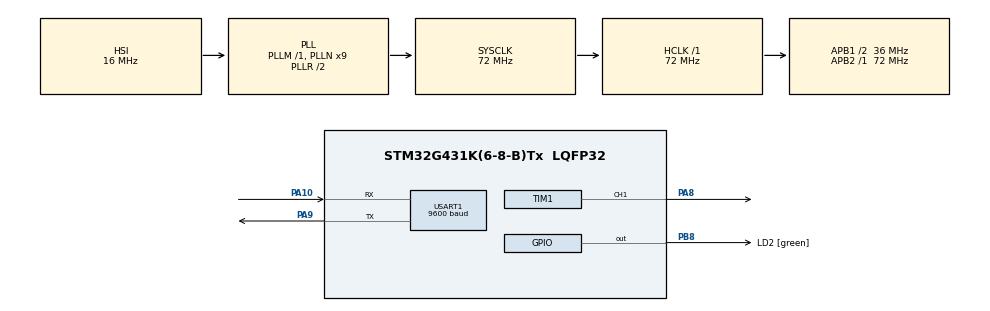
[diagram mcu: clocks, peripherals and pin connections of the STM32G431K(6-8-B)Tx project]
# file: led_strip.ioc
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Dma.Request0=TIM1_CH1
Dma.Request1=USART1_RX
Dma.TIM1_CH1.0.Direction=DMA_MEMORY_TO_PERIPH
Dma.TIM1_CH1.0.EventEnable=DISABLE
Dma.TIM1_CH1.0.Instance=DMA1_Channel1
Dma.TIM1_CH1.0.MemDataAlignment=DMA_MDATAALIGN_HALFWORD
Dma.TIM1_CH1.0.MemInc=DMA_MINC_ENABLE
Dma.TIM1_CH1.0.Mode=DMA_NORMAL
Dma.TIM1_CH1.0.PeriphDataAlignment=DMA_PDATAALIGN_HALFWORD
Dma.TIM1_CH1.0.PeriphInc=DMA_PINC_DISABLE
Dma.TIM1_CH1.0.Polarity=HAL_DMAMUX_REQ_GEN_RISING
Dma.TIM1_CH1.0.Priority=DMA_PRIORITY_LOW
Dma.TIM1_CH1.0.RequestNumber=1
Dma.TIM1_CH1.0.SignalID=NONE
Dma.TIM1_CH1.0.SyncEnable=DISABLE
Dma.TIM1_CH1.0.SyncPolarity=HAL_DMAMUX_SYNC_NO_EVENT
Dma.TIM1_CH1.0.SyncRequestNumber=1
Dma.TIM1_CH1.0.SyncSignalID=NONE
Dma.USART1_RX.1.Direction=DMA_PERIPH_TO_MEMORY
Dma.USART1_RX.1.EventEnable=DISABLE
Dma.USART1_RX.1.Instance=DMA1_Channel2
Dma.USART1_RX.1.MemDataAlignment=DMA_MDATAALIGN_BYTE
Dma.USART1_RX.1.MemInc=DMA_MINC_ENABLE
Dma.USART1_RX.1.Mode=DMA_CIRCULAR
Dma.USART1_RX.1.PeriphDataAlignment=DMA_PDATAALIGN_BYTE
Dma.USART1_RX.1.PeriphInc=DMA_PINC_DISABLE
Dma.USART1_RX.1.Polarity=HAL_DMAMUX_REQ_GEN_RISING
Dma.USART1_RX.1.Priority=DMA_PRIORITY_LOW
Dma.USART1_RX.1.RequestNumber=1
Dma.USART1_RX.1.SignalID=NONE
Dma.USART1_RX.1.SyncEnable=DISABLE
Dma.USART1_RX.1.SyncPolarity=HAL_DMAMUX_SYNC_NO_EVENT
Dma.USART1_RX.1.SyncRequestNumber=1
Dma.USART1_RX.1.SyncSignalID=NONE
Mcu.Family=STM32G4
Mcu.Name=STM32G431K(6-8-B)Tx
Mcu.Package=LQFP32
NVIC.DMA1_Channel1_IRQn=true\:0\:0\:false\:false\:true\:false\:true\:true
NVIC.DMA1_Channel2_IRQn=true\:0\:0\:false\:false\:true\:false\:true\:true
NVIC.PriorityGroup=NVIC_PRIORITYGROUP_4
PA10.Mode=Asynchronous
PA10.Signal=USART1_RX
PA13.GPIO_Label=T_SWDIO
PA13.Mode=Serial_Wire
PA13.Signal=SYS_JTMS-SWDIO
PA14.GPIO_Label=T_SWCLK
PA14.Mode=Serial_Wire
PA14.Signal=SYS_JTCK-SWCLK
PA8.Signal=S_TIM1_CH1
PA9.Mode=Asynchronous
PA9.Signal=USART1_TX
PB3.GPIO_Label=T_SWO
PB3.Signal=SYS_JTDO-SWO
PB8-BOOT0.GPIO_Label=LD2 [green]
PB8-BOOT0.Signal=GPIO_Output
ProjectManager.HeapSize=0x200
ProjectManager.StackSize=0x400
ProjectManager.TargetToolchain=STM32CubeIDE
RCC.ADC12Freq_Value=72000000
RCC.AHBFreq_Value=72000000
RCC.APB1CLKDivider=RCC_HCLK_DIV2
RCC.APB1Freq_Value=36000000
RCC.APB1TimFreq_Value=72000000
RCC.APB2Freq_Value=72000000
RCC.APB2TimFreq_Value=72000000
RCC.CortexFreq_Value=72000000
RCC.EXTERNAL_CLOCK_VALUE=12288000
RCC.HCLKFreq_Value=72000000
RCC.HSE_VALUE=8000000
RCC.HSI48_VALUE=48000000
RCC.HSI_VALUE=16000000
RCC.LSE_VALUE=32768
RCC.PLLN=9
RCC.SYSCLKFreq_VALUE=72000000
RCC.SYSCLKSource=RCC_SYSCLKSOURCE_PLLCLK
RCC.USBFreq_Value=72000000
RCC.VCOOutputFreq_Value=144000000
SH.S_TIM1_CH1.0=TIM1_CH1,PWM Generation1 CH1
TIM1.Channel-PWM\ Generation1\ CH1=TIM_CHANNEL_1
TIM1.PeriodNoDither=90-1
USART1.BaudRate=9600
USART1.VirtualMode-Asynchronous=VM_ASYNC
VP_CRC_VS_CRC.Mode=CRC_Activate
VP_TIM1_VS_ClockSourceINT.Mode=Internal
board=NUCLEO-G431KB

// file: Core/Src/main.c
/* USER CODE BEGIN Header */
/**
 ******************************************************************************
 * @file           : main.c
 * @brief          : Main program body
 ******************************************************************************
 * @attention
 *
 * Copyright (c) 2022 STMicroelectronics.
 * All rights reserved.
 *
 * This software is licensed under terms that can be found in the LICENSE file
 * in the root directory of this software component.
 * If no LICENSE file comes with this software, it is provided AS-IS.
 *
 ******************************************************************************
 */
/* USER CODE END Header */
#include "main.h"

CRC_HandleTypeDef hcrc;

TIM_HandleTypeDef htim1;
DMA_HandleTypeDef hdma_tim1_ch1;

UART_HandleTypeDef huart1;
DMA_HandleTypeDef hdma_usart1_rx;

void SystemClock_Config(void);
static void MX_GPIO_Init(void);
static void MX_DMA_Init(void);
static void MX_TIM1_Init(void);
static void MX_USART1_UART_Init(void);
static void MX_CRC_Init(void);

/* USER CODE BEGIN 0 */
void led_select(int lednum, int g, int r, int b);
void brightness_select();
void colorselect(int g, int r, int b);
void send_data();
uint8_t data[18] = { 0 };
int led_count = 8;
uint16_t pwmData[242]; //as we will send data that are 24 bytes for every led
int led_data[8][4];
uint32_t data_index = 0;
int counter = 0;
int completedcounter = 0;
uint32_t result = 0;
int data_corrupted_flag = 0;
uint8_t crc_incoming_data[4];
uint32_t crc_incoming_result;
uint32_t calculated_crc;
int checksum = 0;
uint8_t reformed_data[11];
uint32_t all_bytes;
/*
 char msg_success = "message received successfully";
 char msg_failure = "message was corrupted, try again?(y/n)";
 */
uint8_t failure_signal = 0;
uint8_t success_signal = 1;

void HAL_UART_RxCpltCallback(UART_HandleTypeDef *huart) {

	if (data[1] == 8) {
		completedcounter = 8;
	}
	if (counter < 8) {
		counter++;
		HAL_UART_Receive_DMA(&huart1, data, 18);
	}

}

void organizer() {
	int green = data[2] * 100 + data[3] * 10 + data[4];
	int red = data[5] * 100 + data[6] * 10 + data[7];
	int blue = data[8] * 100 + data[9] * 10 + data[10];
	led_select(data[1], green, red, blue);
	completedcounter++;
	brightness_select();

}

void led_select(int lednum, int g, int r, int b) {
	led_data[lednum][0] = lednum;
	led_data[lednum][1] = g;
	led_data[lednum][2] = r;
	led_data[lednum][3] = b;
}

void brightness_select() {
	double val = 1;
	if (data[10] == 1) {
		val = 0.25;
	}
	if (data[10] == 2) {
		val = 0.5;
	}
	if (data[10] == 3) {
		val = 0.75;
	}

	for (int j = 1; j < 4; j++) {
		led_data[data[1]][j] = led_data[data[1]][j] * val;
	}

}

void colorselect(int g, int r, int b) {
//	uint32_t input = ((g << 16) | (r << 8) | b);
//
//	for (int i = 23; i >= 0; i--) {
//		if (input&(1 << i))
//			pwmData[data_index] = 60;
//		else
//			pwmData[data_index] = 30;
//
//		data_index++;
//	}

	for (int i = 0; i < 8; i++) {
		pwmData[data_index] = ((g << i) & 0x80) ? 60 : 30;
		data_index++;
	}
	for (int i = 0; i < 8; i++) {
		pwmData[data_index] = ((r << i) & 0x80) ? 60 : 30;
		data_index++;
	}
	for (int i = 0; i < 8; i++) {
		pwmData[data_index] = ((b << i) & 0x80) ? 60 : 30;
		data_index++;
	}

}

void send_data() {

	for (int i = 0; i < led_count; i++) {
		colorselect(led_data[i][1], led_data[i][2], led_data[i][3]);
	}
	for (int i = 0; i < 50; i++) {
		pwmData[data_index] = 0;
		data_index++;
	}
	HAL_TIM_PWM_Start_DMA(&htim1, TIM_TI1SELECTION_CH1, (uint32_t*) pwmData,
			data_index);
}

void HAL_TIM_PWM_PulseFinishedCallback(TIM_HandleTypeDef *htim) {
	//HAL_TIM_PWM_Start_DMA(&htim1, TIM_TI1SELECTION_CH1, (uint32_t*) pwmData,
			//data_index);

}

/* USER CODE END 0 */

int main(void) {

	/* MCU Configuration--------------------------------------------------------*/

	/* Reset of all peripherals, Initializes the Flash interface and the Systick. */
	HAL_Init();

	/* Configure the system clock */
	SystemClock_Config();

	/* Initialize all configured peripherals */
	MX_GPIO_Init();
	MX_DMA_Init();
	MX_TIM1_Init();
	MX_USART1_UART_Init();
	MX_CRC_Init();
	/* USER CODE BEGIN 2 */

	HAL_UART_Receive_DMA(&huart1, data, 18);

	/* USER CODE END 2 */

	/* Infinite loop */
	while (1) {

		/* USER CODE BEGIN 3 */

		if (counter > completedcounter) {

			if (data[0] != 75 || data[17] != 85) {
				data_corrupted_flag = 1;
				goto flagchck;
			}

			checksum = 0;
			for (int i = 1; i < 12; i++) {
				checksum += data[i];
			}
			if (checksum != data[12]) {
				data_corrupted_flag = 1;
				goto flagchck;
			}
			int p = 0;
			for (int i = 13; i < 17; i++) {
				crc_incoming_data[p] = data[i];
				p++;

			}
			p = 0;
			for (int i = 1; i < 12; i++) {
				reformed_data[p] = data[i] + 48;
				p++;

			}
			crc_incoming_result=0;
			for (int i = 3; i >= 0; i--) {
				crc_incoming_result |= crc_incoming_data[i] << (8 * i);

			}

			calculated_crc = HAL_CRC_Calculate(&hcrc, (uint32_t*) reformed_data	, sizeof(reformed_data));
			calculated_crc ^= 0xFFFFFFFF;
			/*
			crc_init();
			for (int i = 3; i >= 0; i--) {
				all_bytes |= reformed_data[i] << (8 * i);

			}
			CRC->DR = all_bytes;
			for (int i = 3; i >= 0; i--) {
				all_bytes |= reformed_data[i + 4] << (8 * i);

			}
			CRC->DR = all_bytes;
			all_bytes = 0;
			for (int i = 2; i >= 0; i--) {
				all_bytes |= reformed_data[i + 8] << (8 * i);

			}
			CRC->DR = all_bytes;
			calculated_crc = CRC->DR;
				*/
			if (calculated_crc != crc_incoming_result) {
				data_corrupted_flag = 1;
			}
			flagchck:
			if (data_corrupted_flag == 0) {
				//HAL_UART_Transmit(&huart1, &success_signal, 1, 250);
				CRC->CR  |= CRC_CR_RESET;
				organizer();

			} else {
				counter--;
				//transmit a 0 to main computer for resend
				//HAL_UART_Transmit(&huart1, &failure_signal, 1, 250);
				CRC->CR  |= CRC_CR_RESET;
			}

		}

		if (completedcounter == 8) {
			send_data();
			completedcounter++;
		}
		/* USER CODE END 3 */
	}
}
void SystemClock_Config(void) {
	RCC_OscInitTypeDef RCC_OscInitStruct = { 0 };
	RCC_ClkInitTypeDef RCC_ClkInitStruct = { 0 };

	/** Configure the main internal regulator output voltage
	 */
	HAL_PWREx_ControlVoltageScaling(PWR_REGULATOR_VOLTAGE_SCALE1);

	/** Initializes the RCC Oscillators according to the specified parameters
	 * in the RCC_OscInitTypeDef structure.
	 */
	RCC_OscInitStruct.OscillatorType = RCC_OSCILLATORTYPE_HSI;
	RCC_OscInitStruct.HSIState = RCC_HSI_ON;
	RCC_OscInitStruct.HSICalibrationValue = RCC_HSICALIBRATION_DEFAULT;
	RCC_OscInitStruct.PLL.PLLState = RCC_PLL_ON;
	RCC_OscInitStruct.PLL.PLLSource = RCC_PLLSOURCE_HSI;
	RCC_OscInitStruct.PLL.PLLM = RCC_PLLM_DIV1;
	RCC_OscInitStruct.PLL.PLLN = 9;
	RCC_OscInitStruct.PLL.PLLP = RCC_PLLP_DIV2;
	RCC_OscInitStruct.PLL.PLLQ = RCC_PLLQ_DIV2;
	RCC_OscInitStruct.PLL.PLLR = RCC_PLLR_DIV2;
	if (HAL_RCC_OscConfig(&RCC_OscInitStruct) != HAL_OK) {
		Error_Handler();
	}

	/** Initializes the CPU, AHB and APB buses clocks
	 */
	RCC_ClkInitStruct.ClockType = RCC_CLOCKTYPE_HCLK | RCC_CLOCKTYPE_SYSCLK
			| RCC_CLOCKTYPE_PCLK1 | RCC_CLOCKTYPE_PCLK2;
	RCC_ClkInitStruct.SYSCLKSource = RCC_SYSCLKSOURCE_PLLCLK;
	RCC_ClkInitStruct.AHBCLKDivider = RCC_SYSCLK_DIV1;
	RCC_ClkInitStruct.APB1CLKDivider = RCC_HCLK_DIV2;
	RCC_ClkInitStruct.APB2CLKDivider = RCC_HCLK_DIV1;

	if (HAL_RCC_ClockConfig(&RCC_ClkInitStruct, FLASH_LATENCY_2) != HAL_OK) {
		Error_Handler();
	}
}

static void MX_CRC_Init(void) {

	hcrc.Instance = CRC;
	hcrc.Init.DefaultPolynomialUse = DEFAULT_POLYNOMIAL_ENABLE;
	hcrc.Init.DefaultInitValueUse = DEFAULT_INIT_VALUE_ENABLE;
	hcrc.Init.InputDataInversionMode = CRC_INPUTDATA_INVERSION_BYTE;
	hcrc.Init.OutputDataInversionMode = CRC_OUTPUTDATA_INVERSION_ENABLE;
	hcrc.InputDataFormat = CRC_INPUTDATA_FORMAT_BYTES;
	if (HAL_CRC_Init(&hcrc) != HAL_OK) {
		Error_Handler();
	}

}

static void MX_TIM1_Init(void) {

	TIM_ClockConfigTypeDef sClockSourceConfig = { 0 };
	TIM_MasterConfigTypeDef sMasterConfig = { 0 };
	TIM_OC_InitTypeDef sConfigOC = { 0 };
	TIM_BreakDeadTimeConfigTypeDef sBreakDeadTimeConfig = { 0 };

	htim1.Instance = TIM1;
	htim1.Init.Prescaler = 0;
	htim1.Init.CounterMode = TIM_COUNTERMODE_UP;
	htim1.Init.Period = 89;
	htim1.Init.ClockDivision = TIM_CLOCKDIVISION_DIV1;
	htim1.Init.RepetitionCounter = 0;
	htim1.Init.AutoReloadPreload = TIM_AUTORELOAD_PRELOAD_DISABLE;
	if (HAL_TIM_Base_Init(&htim1) != HAL_OK) {
		Error_Handler();
	}
	sClockSourceConfig.ClockSource = TIM_CLOCKSOURCE_INTERNAL;
	if (HAL_TIM_ConfigClockSource(&htim1, &sClockSourceConfig) != HAL_OK) {
		Error_Handler();
	}
	if (HAL_TIM_PWM_Init(&htim1) != HAL_OK) {
		Error_Handler();
	}
	sMasterConfig.MasterOutputTrigger = TIM_TRGO_RESET;
	sMasterConfig.MasterOutputTrigger2 = TIM_TRGO2_RESET;
	sMasterConfig.MasterSlaveMode = TIM_MASTERSLAVEMODE_DISABLE;
	if (HAL_TIMEx_MasterConfigSynchronization(&htim1, &sMasterConfig)
			!= HAL_OK) {
		Error_Handler();
	}
	sConfigOC.OCMode = TIM_OCMODE_PWM1;
	sConfigOC.Pulse = 0;
	sConfigOC.OCPolarity = TIM_OCPOLARITY_HIGH;
	sConfigOC.OCNPolarity = TIM_OCNPOLARITY_HIGH;
	sConfigOC.OCFastMode = TIM_OCFAST_DISABLE;
	sConfigOC.OCIdleState = TIM_OCIDLESTATE_RESET;
	sConfigOC.OCNIdleState = TIM_OCNIDLESTATE_RESET;
	if (HAL_TIM_PWM_ConfigChannel(&htim1, &sConfigOC, TIM_CHANNEL_1)
			!= HAL_OK) {
		Error_Handler();
	}
	sBreakDeadTimeConfig.OffStateRunMode = TIM_OSSR_DISABLE;
	sBreakDeadTimeConfig.OffStateIDLEMode = TIM_OSSI_DISABLE;
	sBreakDeadTimeConfig.LockLevel = TIM_LOCKLEVEL_OFF;
	sBreakDeadTimeConfig.DeadTime = 0;
	sBreakDeadTimeConfig.BreakState = TIM_BREAK_DISABLE;
	sBreakDeadTimeConfig.BreakPolarity = TIM_BREAKPOLARITY_HIGH;
	sBreakDeadTimeConfig.BreakFilter = 0;
	sBreakDeadTimeConfig.BreakAFMode = TIM_BREAK_AFMODE_INPUT;
	sBreakDeadTimeConfig.Break2State = TIM_BREAK2_DISABLE;
	sBreakDeadTimeConfig.Break2Polarity = TIM_BREAK2POLARITY_HIGH;
	sBreakDeadTimeConfig.Break2Filter = 0;
	sBreakDeadTimeConfig.Break2AFMode = TIM_BREAK_AFMODE_INPUT;
	sBreakDeadTimeConfig.AutomaticOutput = TIM_AUTOMATICOUTPUT_DISABLE;
	if (HAL_TIMEx_ConfigBreakDeadTime(&htim1, &sBreakDeadTimeConfig)
			!= HAL_OK) {
		Error_Handler();
	}
	HAL_TIM_MspPostInit(&htim1);

}

static void MX_USART1_UART_Init(void) {

	huart1.Instance = USART1;
	huart1.Init.BaudRate = 9600;
	huart1.Init.WordLength = UART_WORDLENGTH_8B;
	huart1.Init.StopBits = UART_STOPBITS_1;
	huart1.Init.Parity = UART_PARITY_NONE;
	huart1.Init.Mode = UART_MODE_TX_RX;
	huart1.Init.HwFlowCtl = UART_HWCONTROL_NONE;
	huart1.Init.OverSampling = UART_OVERSAMPLING_16;
	huart1.Init.OneBitSampling = UART_ONE_BIT_SAMPLE_DISABLE;
	huart1.Init.ClockPrescaler = UART_PRESCALER_DIV1;
	huart1.AdvancedInit.AdvFeatureInit = UART_ADVFEATURE_NO_INIT;
	if (HAL_UART_Init(&huart1) != HAL_OK) {
		Error_Handler();
	}
	if (HAL_UARTEx_SetTxFifoThreshold(&huart1, UART_TXFIFO_THRESHOLD_1_8)
			!= HAL_OK) {
		Error_Handler();
	}
	if (HAL_UARTEx_SetRxFifoThreshold(&huart1, UART_RXFIFO_THRESHOLD_1_8)
			!= HAL_OK) {
		Error_Handler();
	}
	if (HAL_UARTEx_DisableFifoMode(&huart1) != HAL_OK) {
		Error_Handler();
	}

}

static void MX_DMA_Init(void) {

	/* DMA controller clock enable */
	__HAL_RCC_DMAMUX1_CLK_ENABLE();
	__HAL_RCC_DMA1_CLK_ENABLE();

	/* DMA interrupt init */
	/* DMA1_Channel1_IRQn interrupt configuration */
	HAL_NVIC_SetPriority(DMA1_Channel1_IRQn, 0, 0);
	HAL_NVIC_EnableIRQ(DMA1_Channel1_IRQn);
	/* DMA1_Channel2_IRQn interrupt configuration */
	HAL_NVIC_SetPriority(DMA1_Channel2_IRQn, 0, 0);
	HAL_NVIC_EnableIRQ(DMA1_Channel2_IRQn);

}

static void MX_GPIO_Init(void) {
	GPIO_InitTypeDef GPIO_InitStruct = { 0 };

	/* GPIO Ports Clock Enable */
	__HAL_RCC_GPIOA_CLK_ENABLE();
	__HAL_RCC_GPIOB_CLK_ENABLE();

	/*Configure GPIO pin Output Level */
	HAL_GPIO_WritePin(LD2_GPIO_Port, LD2_Pin, GPIO_PIN_RESET);

	/*Configure GPIO pin : LD2_Pin */
	GPIO_InitStruct.Pin = LD2_Pin;
	GPIO_InitStruct.Mode = GPIO_MODE_OUTPUT_PP;
	GPIO_InitStruct.Pull = GPIO_NOPULL;
	GPIO_InitStruct.Speed = GPIO_SPEED_FREQ_LOW;
	HAL_GPIO_Init(LD2_GPIO_Port, &GPIO_InitStruct);

}

void Error_Handler(void) {
	__disable_irq();
	while (1) {
	}
}
